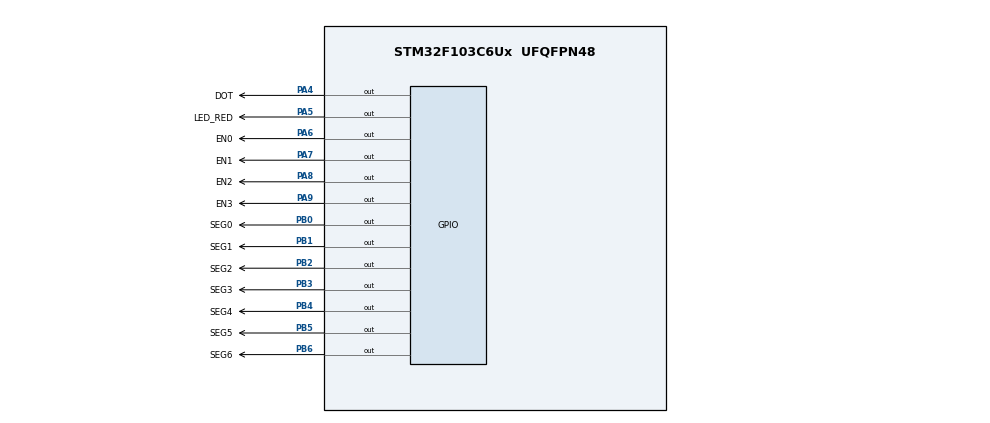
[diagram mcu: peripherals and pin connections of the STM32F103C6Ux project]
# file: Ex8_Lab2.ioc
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Mcu.Family=STM32F1
Mcu.Name=STM32F103C6Ux
Mcu.Package=UFQFPN48
NVIC.PriorityGroup=NVIC_PRIORITYGROUP_4
NVIC.TIM2_IRQn=true\:0\:0\:false\:false\:true\:true\:true\:true
PA4.GPIO_Label=DOT
PA4.Signal=GPIO_Output
PA5.GPIO_Label=LED_RED
PA5.Signal=GPIO_Output
PA6.GPIO_Label=EN0
PA6.Signal=GPIO_Output
PA7.GPIO_Label=EN1
PA7.Signal=GPIO_Output
PA8.GPIO_Label=EN2
PA8.Signal=GPIO_Output
PA9.GPIO_Label=EN3
PA9.Signal=GPIO_Output
PB0.GPIO_Label=SEG0
PB0.Signal=GPIO_Output
PB1.GPIO_Label=SEG1
PB1.Signal=GPIO_Output
PB2.GPIO_Label=SEG2
PB2.Signal=GPIO_Output
PB3.GPIO_Label=SEG3
PB3.Signal=GPIO_Output
PB4.GPIO_Label=SEG4
PB4.Signal=GPIO_Output
PB5.GPIO_Label=SEG5
PB5.Signal=GPIO_Output
PB6.GPIO_Label=SEG6
PB6.Signal=GPIO_Output
ProjectManager.HeapSize=0x200
ProjectManager.StackSize=0x400
ProjectManager.TargetToolchain=STM32CubeIDE
RCC.APB1Freq_Value=8000000
RCC.APB2Freq_Value=8000000
TIM2.Period=9
TIM2.Prescaler=7999
VP_TIM2_VS_ClockSourceINT.Mode=Internal
board=custom

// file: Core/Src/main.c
/* USER CODE BEGIN Header */
/**
  ******************************************************************************
  * @file           : main.c
  * @brief          : Main program body
  ******************************************************************************
  * @attention
  *
  * Copyright (c) 2022 STMicroelectronics.
  * All rights reserved.
  *
  * This software is licensed under terms that can be found in the LICENSE file
  * in the root directory of this software component.
  * If no LICENSE file comes with this software, it is provided AS-IS.
  *
  ******************************************************************************
  */
/* USER CODE END Header */
#include "main.h"

/* USER CODE BEGIN Includes */
#include "SoftwareTimer.h"
/* USER CODE END Includes */

TIM_HandleTypeDef htim2;

void SystemClock_Config(void);
static void MX_GPIO_Init(void);
static void MX_TIM2_Init(void);
/* USER CODE BEGIN PFP */
void display7SEG(int num){
	if(num==0){
		HAL_GPIO_WritePin(SEG0_GPIO_Port,SEG0_Pin,0);
		HAL_GPIO_WritePin(SEG1_GPIO_Port,SEG1_Pin,0);
		HAL_GPIO_WritePin(SEG2_GPIO_Port,SEG2_Pin,0);
		HAL_GPIO_WritePin(SEG3_GPIO_Port,SEG3_Pin,0);
		HAL_GPIO_WritePin(SEG4_GPIO_Port,SEG4_Pin,0);
		HAL_GPIO_WritePin(SEG5_GPIO_Port,SEG5_Pin,0);
		HAL_GPIO_WritePin(SEG6_GPIO_Port,SEG6_Pin,1);
	}
	if(num==1){
		HAL_GPIO_WritePin(SEG0_GPIO_Port,SEG0_Pin,1);
		HAL_GPIO_WritePin(SEG1_GPIO_Port,SEG1_Pin,0);
		HAL_GPIO_WritePin(SEG2_GPIO_Port,SEG2_Pin,0);
		HAL_GPIO_WritePin(SEG3_GPIO_Port,SEG3_Pin,1);
		HAL_GPIO_WritePin(SEG4_GPIO_Port,SEG4_Pin,1);
		HAL_GPIO_WritePin(SEG5_GPIO_Port,SEG5_Pin,1);
		HAL_GPIO_WritePin(SEG6_GPIO_Port,SEG6_Pin,1);
	}
	if(num==2){
		HAL_GPIO_WritePin(SEG0_GPIO_Port,SEG0_Pin,0);
		HAL_GPIO_WritePin(SEG1_GPIO_Port,SEG1_Pin,0);
		HAL_GPIO_WritePin(SEG2_GPIO_Port,SEG2_Pin,1);
		HAL_GPIO_WritePin(SEG3_GPIO_Port,SEG3_Pin,0);
		HAL_GPIO_WritePin(SEG4_GPIO_Port,SEG4_Pin,0);
		HAL_GPIO_WritePin(SEG5_GPIO_Port,SEG5_Pin,1);
		HAL_GPIO_WritePin(SEG6_GPIO_Port,SEG6_Pin,0);
	}
	if(num==3){
		HAL_GPIO_WritePin(SEG0_GPIO_Port,SEG0_Pin,0);
		HAL_GPIO_WritePin(SEG1_GPIO_Port,SEG1_Pin,0);
		HAL_GPIO_WritePin(SEG2_GPIO_Port,SEG2_Pin,0);
		HAL_GPIO_WritePin(SEG3_GPIO_Port,SEG3_Pin,0);
		HAL_GPIO_WritePin(SEG4_GPIO_Port,SEG4_Pin,1);
		HAL_GPIO_WritePin(SEG5_GPIO_Port,SEG5_Pin,1);
		HAL_GPIO_WritePin(SEG6_GPIO_Port,SEG6_Pin,0);
	}
	if(num==4){
		HAL_GPIO_WritePin(SEG0_GPIO_Port,SEG0_Pin,1);
		HAL_GPIO_WritePin(SEG1_GPIO_Port,SEG1_Pin,0);
		HAL_GPIO_WritePin(SEG2_GPIO_Port,SEG2_Pin,0);
		HAL_GPIO_WritePin(SEG3_GPIO_Port,SEG3_Pin,1);
		HAL_GPIO_WritePin(SEG4_GPIO_Port,SEG4_Pin,1);
		HAL_GPIO_WritePin(SEG5_GPIO_Port,SEG5_Pin,0);
		HAL_GPIO_WritePin(SEG6_GPIO_Port,SEG6_Pin,0);
	}
	if(num==5){
		HAL_GPIO_WritePin(SEG0_GPIO_Port,SEG0_Pin,0);
		HAL_GPIO_WritePin(SEG1_GPIO_Port,SEG1_Pin,1);
		HAL_GPIO_WritePin(SEG2_GPIO_Port,SEG2_Pin,0);
		HAL_GPIO_WritePin(SEG3_GPIO_Port,SEG3_Pin,0);
		HAL_GPIO_WritePin(SEG4_GPIO_Port,SEG4_Pin,1);
		HAL_GPIO_WritePin(SEG5_GPIO_Port,SEG5_Pin,0);
		HAL_GPIO_WritePin(SEG6_GPIO_Port,SEG6_Pin,0);
	}
	if(num==6){
		HAL_GPIO_WritePin(SEG0_GPIO_Port,SEG0_Pin,0);
		HAL_GPIO_WritePin(SEG1_GPIO_Port,SEG1_Pin,1);
		HAL_GPIO_WritePin(SEG2_GPIO_Port,SEG2_Pin,0);
		HAL_GPIO_WritePin(SEG3_GPIO_Port,SEG3_Pin,0);
		HAL_GPIO_WritePin(SEG4_GPIO_Port,SEG4_Pin,0);
		HAL_GPIO_WritePin(SEG5_GPIO_Port,SEG5_Pin,0);
		HAL_GPIO_WritePin(SEG6_GPIO_Port,SEG6_Pin,0);
	}
	if(num==7){
		HAL_GPIO_WritePin(SEG0_GPIO_Port,SEG0_Pin,0);
		HAL_GPIO_WritePin(SEG1_GPIO_Port,SEG1_Pin,0);
		HAL_GPIO_WritePin(SEG2_GPIO_Port,SEG2_Pin,0);
		HAL_GPIO_WritePin(SEG3_GPIO_Port,SEG3_Pin,1);
		HAL_GPIO_WritePin(SEG4_GPIO_Port,SEG4_Pin,1);
		HAL_GPIO_WritePin(SEG5_GPIO_Port,SEG5_Pin,1);
		HAL_GPIO_WritePin(SEG6_GPIO_Port,SEG6_Pin,1);
	}
	if(num==8){
		HAL_GPIO_WritePin(SEG0_GPIO_Port,SEG0_Pin,0);
		HAL_GPIO_WritePin(SEG1_GPIO_Port,SEG1_Pin,0);
		HAL_GPIO_WritePin(SEG2_GPIO_Port,SEG2_Pin,0);
		HAL_GPIO_WritePin(SEG3_GPIO_Port,SEG3_Pin,0);
		HAL_GPIO_WritePin(SEG4_GPIO_Port,SEG4_Pin,0);
		HAL_GPIO_WritePin(SEG5_GPIO_Port,SEG5_Pin,0);
		HAL_GPIO_WritePin(SEG6_GPIO_Port,SEG6_Pin,0);
	}
	if(num==9){
		HAL_GPIO_WritePin(SEG0_GPIO_Port,SEG0_Pin,0);
		HAL_GPIO_WritePin(SEG1_GPIO_Port,SEG1_Pin,0);
		HAL_GPIO_WritePin(SEG2_GPIO_Port,SEG2_Pin,0);
		HAL_GPIO_WritePin(SEG3_GPIO_Port,SEG3_Pin,0);
		HAL_GPIO_WritePin(SEG4_GPIO_Port,SEG4_Pin,1);
		HAL_GPIO_WritePin(SEG5_GPIO_Port,SEG5_Pin,0);
		HAL_GPIO_WritePin(SEG6_GPIO_Port,SEG6_Pin,0);
	}
}

const int MAX_LED=4;
int index_led=0;
int led_buffer[4]={1,2,3,4};
void update7SEG(int index){
	switch(index){
		case 0:
			//Display the first 7SEG with led_buffer[0]
			HAL_GPIO_WritePin(EN3_GPIO_Port, EN3_Pin, 1);	//TURN OFF PREVIOUS 7SEG
			HAL_GPIO_WritePin(EN0_GPIO_Port, EN0_Pin, 0);	//TURN ON THIS 7SEG
			display7SEG(led_buffer[0]);
		break;
		case 1:
			//Display the second 7SEG with led_buffer[1]
			HAL_GPIO_WritePin(EN0_GPIO_Port, EN0_Pin, 1);	//TURN OFF PREVIOUS 7SEG
			HAL_GPIO_WritePin(EN1_GPIO_Port, EN1_Pin, 0);	//TURN ON THIS 7SEG
			display7SEG(led_buffer[1]);
		break;
		case 2:
			//Display the third 7SEG with led_buffer[2]
			HAL_GPIO_WritePin(EN1_GPIO_Port, EN1_Pin, 1);	//TURN OFF PREVIOUS 7SEG
			HAL_GPIO_WritePin(EN2_GPIO_Port, EN2_Pin, 0);	//TURN ON THIS 7SEG
			display7SEG(led_buffer[2]);
		break;
		case 3:
			//Display the forth 7SEG with led_buffer[3]
			HAL_GPIO_WritePin(EN2_GPIO_Port, EN2_Pin, 1);	//TURN OFF PREVIOUS 7SEG
			HAL_GPIO_WritePin(EN3_GPIO_Port, EN3_Pin, 0);	//TURN ON THIS 7SEG
			display7SEG(led_buffer[3]);
		break;
	}
}

int hour=15, minute=8, second=50;
void updateClockBuffer(){
	led_buffer[0]=minute/10;
	led_buffer[1]=minute%10;
	led_buffer[2]=second/10;
	led_buffer[3]=second%10;
}
/* USER CODE END PFP */

int main(void)
{

  /* MCU Configuration--------------------------------------------------------*/

  /* Reset of all peripherals, Initializes the Flash interface and the Systick. */
  HAL_Init();

  /* Configure the system clock */
  SystemClock_Config();

  /* Initialize all configured peripherals */
  MX_GPIO_Init();
  MX_TIM2_Init();
  /* USER CODE BEGIN 2 */
  //TURN OFF ALL LED
  HAL_GPIO_WritePin(EN0_GPIO_Port, EN0_Pin, 1);
  HAL_GPIO_WritePin(EN1_GPIO_Port, EN1_Pin, 1);
  HAL_GPIO_WritePin(EN2_GPIO_Port, EN2_Pin, 1);
  HAL_GPIO_WritePin(EN3_GPIO_Port, EN3_Pin, 1);
  HAL_GPIO_WritePin(DOT_GPIO_Port, DOT_Pin, 1);

  updateClockBuffer();

  HAL_TIM_Base_Start_IT(&htim2);

  /* USER CODE END 2 */

  /* Infinite loop */
  /* USER CODE BEGIN WHILE */
  setTimer1(1000);
  setTimer2(250);
  int state_DOT=0;
  while (1)
  {
	  if(timer2_flag==1){
		  setTimer2(250);
		  if(timer1_flag==1){
			  setTimer1(1000);
			  //Update time
			  second++;
			  if(second>=60){
				  second=0;
				  minute++;
			  }
			  if(minute>=60){
				  minute=0;
				  hour++;
			  }
			  if(hour>=24){
				  hour=0;
			  }
			  //Update ClockBuffer
			  updateClockBuffer();
			  //Update DOT state
			  if(state_DOT==0){
				  HAL_GPIO_WritePin(DOT_GPIO_Port, DOT_Pin, 0);
				  state_DOT=1;
			  }else if(state_DOT==1){
				  HAL_GPIO_WritePin(DOT_GPIO_Port, DOT_Pin, 1);
				  state_DOT=0;
			  }
		  }
		  update7SEG(index_led++);
		  //if reach the last 7seg led, reset the next time
		  if(index_led>=MAX_LED){
			  index_led=0;
		  }
	  }

    /* USER CODE END WHILE */

  }
}

void SystemClock_Config(void)
{
  RCC_OscInitTypeDef RCC_OscInitStruct = {0};
  RCC_ClkInitTypeDef RCC_ClkInitStruct = {0};

  /** Initializes the RCC Oscillators according to the specified parameters
  * in the RCC_OscInitTypeDef structure.
  */
  RCC_OscInitStruct.OscillatorType = RCC_OSCILLATORTYPE_HSI;
  RCC_OscInitStruct.HSIState = RCC_HSI_ON;
  RCC_OscInitStruct.HSICalibrationValue = RCC_HSICALIBRATION_DEFAULT;
  RCC_OscInitStruct.PLL.PLLState = RCC_PLL_NONE;
  if (HAL_RCC_OscConfig(&RCC_OscInitStruct) != HAL_OK)
  {
    Error_Handler();
  }

  /** Initializes the CPU, AHB and APB buses clocks
  */
  RCC_ClkInitStruct.ClockType = RCC_CLOCKTYPE_HCLK|RCC_CLOCKTYPE_SYSCLK
                              |RCC_CLOCKTYPE_PCLK1|RCC_CLOCKTYPE_PCLK2;
  RCC_ClkInitStruct.SYSCLKSource = RCC_SYSCLKSOURCE_HSI;
  RCC_ClkInitStruct.AHBCLKDivider = RCC_SYSCLK_DIV1;
  RCC_ClkInitStruct.APB1CLKDivider = RCC_HCLK_DIV1;
  RCC_ClkInitStruct.APB2CLKDivider = RCC_HCLK_DIV1;

  if (HAL_RCC_ClockConfig(&RCC_ClkInitStruct, FLASH_LATENCY_0) != HAL_OK)
  {
    Error_Handler();
  }
}

static void MX_TIM2_Init(void)
{

  TIM_ClockConfigTypeDef sClockSourceConfig = {0};
  TIM_MasterConfigTypeDef sMasterConfig = {0};

  htim2.Instance = TIM2;
  htim2.Init.Prescaler = 7999;
  htim2.Init.CounterMode = TIM_COUNTERMODE_UP;
  htim2.Init.Period = 9;
  htim2.Init.ClockDivision = TIM_CLOCKDIVISION_DIV1;
  htim2.Init.AutoReloadPreload = TIM_AUTORELOAD_PRELOAD_DISABLE;
  if (HAL_TIM_Base_Init(&htim2) != HAL_OK)
  {
    Error_Handler();
  }
  sClockSourceConfig.ClockSource = TIM_CLOCKSOURCE_INTERNAL;
  if (HAL_TIM_ConfigClockSource(&htim2, &sClockSourceConfig) != HAL_OK)
  {
    Error_Handler();
  }
  sMasterConfig.MasterOutputTrigger = TIM_TRGO_RESET;
  sMasterConfig.MasterSlaveMode = TIM_MASTERSLAVEMODE_DISABLE;
  if (HAL_TIMEx_MasterConfigSynchronization(&htim2, &sMasterConfig) != HAL_OK)
  {
    Error_Handler();
  }

}

static void MX_GPIO_Init(void)
{
  GPIO_InitTypeDef GPIO_InitStruct = {0};

  /* GPIO Ports Clock Enable */
  __HAL_RCC_GPIOA_CLK_ENABLE();
  __HAL_RCC_GPIOB_CLK_ENABLE();

  /*Configure GPIO pin Output Level */
  HAL_GPIO_WritePin(GPIOA, DOT_Pin|LED_RED_Pin|EN0_Pin|EN1_Pin
                          |EN2_Pin|EN3_Pin, GPIO_PIN_RESET);

  /*Configure GPIO pin Output Level */
  HAL_GPIO_WritePin(GPIOB, SEG0_Pin|SEG1_Pin|SEG2_Pin|SEG3_Pin
                          |SEG4_Pin|SEG5_Pin|SEG6_Pin, GPIO_PIN_RESET);

  /*Configure GPIO pins : DOT_Pin LED_RED_Pin EN0_Pin EN1_Pin
                           EN2_Pin EN3_Pin */
  GPIO_InitStruct.Pin = DOT_Pin|LED_RED_Pin|EN0_Pin|EN1_Pin
                          |EN2_Pin|EN3_Pin;
  GPIO_InitStruct.Mode = GPIO_MODE_OUTPUT_PP;
  GPIO_InitStruct.Pull = GPIO_NOPULL;
  GPIO_InitStruct.Speed = GPIO_SPEED_FREQ_LOW;
  HAL_GPIO_Init(GPIOA, &GPIO_InitStruct);

  /*Configure GPIO pins : SEG0_Pin SEG1_Pin SEG2_Pin SEG3_Pin
                           SEG4_Pin SEG5_Pin SEG6_Pin */
  GPIO_InitStruct.Pin = SEG0_Pin|SEG1_Pin|SEG2_Pin|SEG3_Pin
                          |SEG4_Pin|SEG5_Pin|SEG6_Pin;
  GPIO_InitStruct.Mode = GPIO_MODE_OUTPUT_PP;
  GPIO_InitStruct.Pull = GPIO_NOPULL;
  GPIO_InitStruct.Speed = GPIO_SPEED_FREQ_LOW;
  HAL_GPIO_Init(GPIOB, &GPIO_InitStruct);

}

/* USER CODE BEGIN 4 */
int counter_LED=25;

void HAL_TIM_PeriodElapsedCallback(TIM_HandleTypeDef*htim){
	TimerRun();
}
/* USER CODE END 4 */

void Error_Handler(void)
{
  __disable_irq();
  while (1)
  {
  }
}
